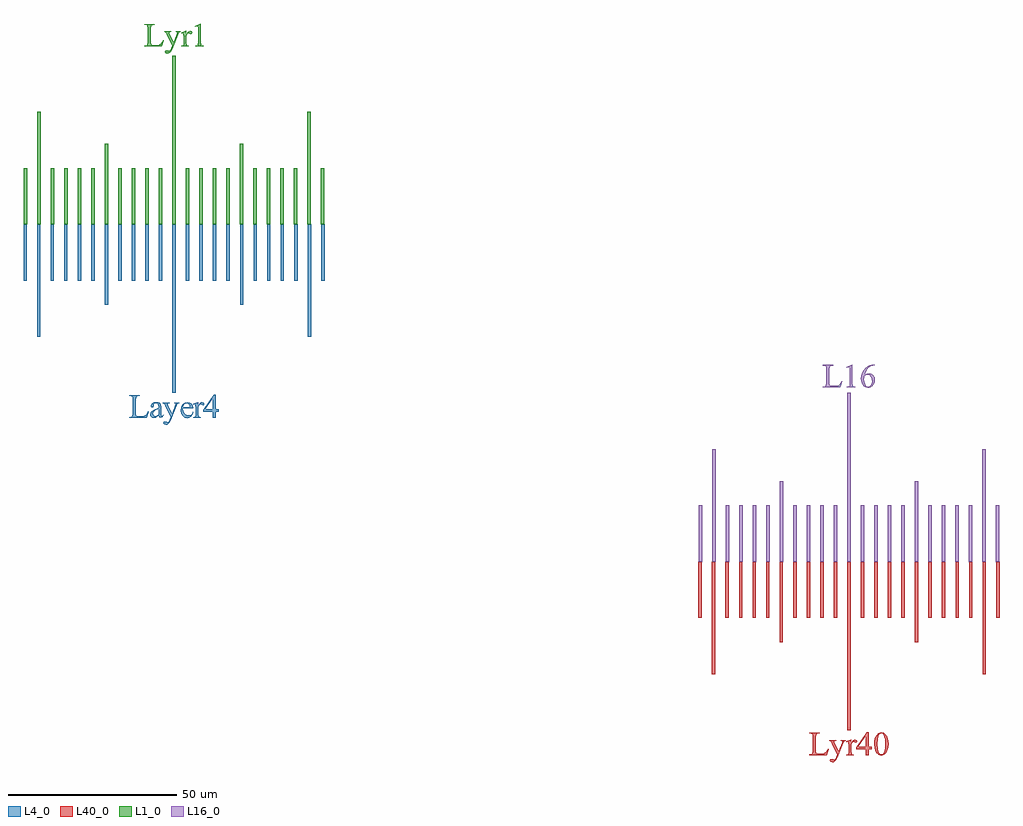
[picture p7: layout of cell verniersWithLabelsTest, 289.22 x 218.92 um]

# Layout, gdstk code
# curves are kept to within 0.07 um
import gdstk
lib = gdstk.Library(unit=1e-6, precision=1e-09)
def R(c, l, rs):  # rectangles x0, y0, x1, y1
    for r in rs: c.add(gdstk.rectangle(r[:2], r[2:], *l))
def A(c, l, x, y, w, h, nx, ny, dx, dy):  # array of equal rectangles
    R(c, l, [(x+i*dx, y+j*dy, x+i*dx+w, y+j*dy+h) for i in range(nx) for j in range(ny)])
def P(c, l, *ps):  # polygons
    for p in ps: c.add(gdstk.Polygon(p, *l))
L1_0 = (1, 0)
L4_0 = (4, 0)
L16_0 = (16, 0)
L40_0 = (40, 0)

vernierswithlabelstest = lib.new_cell('verniersWithLabelsTest')
A(vernierswithlabelstest, L1_0, -36.5, 0, 1, 16.667, 4, 1, 4, 0)
A(vernierswithlabelstest, L1_0, -16.5, 0, 1, 16.667, 4, 1, 4, 0)
A(vernierswithlabelstest, L1_0, 3.5, 0, 1, 16.667, 4, 1, 4, 0)
A(vernierswithlabelstest, L1_0, 23.5, 0, 1, 16.667, 4, 1, 4, 0)
R(vernierswithlabelstest, L1_0, [(-44.5,0,-43.5,16.667), (-40.5,0,-39.5,33.333), (-20.5,0,-19.5,23.81), (-0.5,0,0.5,50), (19.5,0,20.5,23.81), (39.5,0,40.5,33.333), (43.5,0,44.5,16.667)])
P(vernierswithlabelstest, L1_0, [(-2.039,50.539),(-2.523,50.703),(-2.711,51.086),(-2.57,51.414),(-2.195,51.539),(-1.523,51.352),(-1.195,51.508),(-0.523,52.867),(-2.133,56.242),(-2.57,56.852),(-2.93,56.992),(-2.93,57.164),(-0.852,57.164),(-0.852,56.992),(-1.273,56.898),(-1.383,56.648),(-1.227,56.133),(-0.133,53.867),(0.867,56.336),(0.945,56.742),(0.789,56.961),(0.492,56.992),(0.492,57.164),(1.945,57.164),(1.945,56.992),(1.672,56.906),(1.461,56.695),(-0.523,51.852),(-0.83,51.277),(-1.219,50.867),(-1.639,50.621)],
  [(2.117,52.695),(2.117,52.867),(2.633,52.977),(2.805,53.227),(2.82,55.43),(2.789,56.359),(2.672,56.578),(2.461,56.648),(2.117,56.57),(2.07,56.758),(3.43,57.305),(3.633,57.305),(3.633,56.289),(4.203,57.051),(4.494,57.241),(4.789,57.305),(5.227,57.141),(5.398,56.758),(5.273,56.438),(4.977,56.305),(4.273,56.648),(4.086,56.539),(3.633,55.883),(3.633,53.742),(3.727,53.18),(3.945,52.961),(4.414,52.867),(4.414,52.695)],
  [(-8.789,52.695),(-8.789,52.883),(-8.18,52.949),(-7.945,53.148),(-7.836,53.867),(-7.871,58.645),(-7.977,58.914),(-8.211,59.078),(-8.789,59.133),(-8.789,59.32),(-5.789,59.32),(-5.789,59.133),(-6.531,59.039),(-6.82,58.773),(-6.898,58.039),(-6.898,53.867),(-6.82,53.32),(-6.641,53.164),(-5.883,53.117),(-4.328,53.227),(-3.766,53.625),(-3.258,54.523),(-3.102,54.492),(-3.664,52.695)],
  [(6.305,52.695),(6.305,52.883),(6.906,52.953),(7.094,53.148),(7.148,57.43),(7.102,58.367),(6.977,58.594),(6.758,58.664),(6.258,58.523),(6.18,58.664),(7.789,59.461),(7.945,59.461),(7.992,53.172),(8.188,52.961),(8.789,52.883),(8.789,52.695)])
A(vernierswithlabelstest, L4_0, -36.59, -16.667, 1, 16.667, 4, 1, 4.01, 0)
A(vernierswithlabelstest, L4_0, -16.54, -16.667, 1, 16.667, 4, 1, 4.01, 0)
A(vernierswithlabelstest, L4_0, 3.51, -16.667, 1, 16.667, 4, 1, 4.01, 0)
A(vernierswithlabelstest, L4_0, 23.56, -16.667, 1, 16.667, 4, 1, 4.01, 0)
R(vernierswithlabelstest, L4_0, [(-0.5,-50,0.5,0), (-40.6,-33.333,-39.6,0), (39.6,-33.333,40.6,0), (-20.55,-23.81,-19.55,0), (19.55,-23.81,20.55,0), (-44.61,-16.667,-43.61,0), (43.61,-16.667,44.61,0)])
P(vernierswithlabelstest, L4_0, [(-2.477,-59.461),(-2.961,-59.297),(-3.148,-58.914),(-3.008,-58.586),(-2.633,-58.461),(-1.961,-58.648),(-1.633,-58.492),(-0.961,-57.133),(-2.57,-53.758),(-3.008,-53.148),(-3.367,-53.008),(-3.367,-52.836),(-1.289,-52.836),(-1.289,-53.008),(-1.711,-53.102),(-1.82,-53.352),(-1.664,-53.867),(-0.57,-56.133),(0.43,-53.664),(0.508,-53.258),(0.352,-53.039),(0.055,-53.008),(0.055,-52.836),(1.508,-52.836),(1.508,-53.008),(1.234,-53.094),(1.023,-53.305),(-0.961,-58.148),(-1.268,-58.723),(-1.656,-59.133),(-2.076,-59.379)],
  [(-6.008,-57.398),(-6.434,-57.318),(-6.773,-57.078),(-6.92,-56.836),(-5.555,-56.836),(-5.133,-56.711),(-4.586,-56.336),(-4.586,-54.633),(-5.539,-55.055),(-6.086,-55.508),(-6.258,-56.008),(-6.205,-56.336),(-6.047,-56.602),(-5.818,-56.777),(-5.555,-56.836),(-6.92,-56.836),(-7.07,-56.242),(-6.93,-55.68),(-6.654,-55.359),(-6.234,-55.055),(-4.586,-54.336),(-4.639,-53.598),(-4.797,-53.242),(-5.057,-53.055),(-5.691,-53.035),(-5.898,-53.164),(-6.086,-53.539),(-6.07,-53.82),(-6.187,-54.172),(-6.492,-54.289),(-6.789,-54.164),(-6.898,-53.82),(-6.791,-53.416),(-6.469,-53.047),(-5.955,-52.783),(-5.273,-52.695),(-4.723,-52.746),(-4.289,-52.898),(-3.867,-53.367),(-3.773,-54.227),(-3.75,-56.539),(-3.672,-56.727),(-3.398,-56.742),(-3.008,-56.383),(-3.008,-56.664),(-3.543,-57.215),(-4.055,-57.398),(-4.43,-57.227),(-4.586,-56.664),(-5.445,-57.273)],
  [(3.898,-57.445),(3.146,-57.287),(2.516,-56.812),(2.088,-56.076),(1.945,-55.133),(2.075,-54.227),(4.711,-54.227),(4.602,-53.633),(4.234,-53.195),(3.727,-53.039),(3.354,-53.117),(3.016,-53.352),(2.76,-53.727),(2.633,-54.227),(2.075,-54.227),(2.531,-53.336),(3.193,-52.855),(4.008,-52.695),(4.691,-52.818),(5.242,-53.187),(5.605,-53.768),(5.727,-54.523),(2.633,-54.523),(2.754,-55.406),(3.117,-56.086),(3.648,-56.508),(4.273,-56.648),(4.682,-56.588),(5.031,-56.406),(5.326,-56.076),(5.57,-55.57),(5.727,-55.68),(5.521,-56.311),(5.125,-56.891),(4.572,-57.307)],
  [(5.68,-57.305),(5.68,-57.133),(6.195,-57.023),(6.367,-56.773),(6.383,-54.57),(6.352,-53.641),(6.234,-53.422),(6.023,-53.352),(5.68,-53.43),(5.633,-53.242),(6.992,-52.695),(7.195,-52.695),(7.195,-53.711),(7.766,-52.949),(8.057,-52.759),(8.352,-52.695),(8.789,-52.859),(8.961,-53.242),(8.836,-53.562),(8.539,-53.695),(7.836,-53.352),(7.648,-53.461),(7.195,-54.117),(7.195,-56.258),(7.289,-56.82),(7.508,-57.039),(7.977,-57.133),(7.977,-57.305)],
  [(-13.227,-57.305),(-13.227,-57.117),(-12.617,-57.051),(-12.383,-56.852),(-12.273,-56.133),(-12.309,-51.355),(-12.414,-51.086),(-12.648,-50.922),(-13.227,-50.867),(-13.227,-50.68),(-10.227,-50.68),(-10.227,-50.867),(-10.969,-50.961),(-11.258,-51.227),(-11.336,-51.961),(-11.336,-56.133),(-11.258,-56.68),(-11.078,-56.836),(-10.32,-56.883),(-8.766,-56.773),(-8.203,-56.375),(-7.695,-55.477),(-7.539,-55.508),(-8.102,-57.305)],
  [(11.523,-57.305),(11.523,-55.555),(8.727,-55.555),(8.727,-54.93),(8.77,-54.867),(11.523,-54.867),(11.523,-51.57),(9.211,-54.867),(8.77,-54.867),(11.805,-50.539),(12.336,-50.539),(12.336,-54.867),(13.227,-54.867),(13.227,-55.555),(12.336,-55.555),(12.336,-57.305)])
A(vernierswithlabelstest, L16_0, 163.5, -100, 1, 16.667, 4, 1, 4, 0)
A(vernierswithlabelstest, L16_0, 183.5, -100, 1, 16.667, 4, 1, 4, 0)
A(vernierswithlabelstest, L16_0, 203.5, -100, 1, 16.667, 4, 1, 4, 0)
A(vernierswithlabelstest, L16_0, 223.5, -100, 1, 16.667, 4, 1, 4, 0)
R(vernierswithlabelstest, L16_0, [(155.5,-100,156.5,-83.333), (159.5,-100,160.5,-66.667), (179.5,-100,180.5,-76.19), (199.5,-100,200.5,-50), (219.5,-100,220.5,-76.19), (239.5,-100,240.5,-66.667), (243.5,-100,244.5,-83.333)])
P(vernierswithlabelstest, L16_0, [(192.297,-48.32),(192.297,-48.133),(192.906,-48.066),(193.141,-47.867),(193.25,-47.148),(193.215,-42.371),(193.109,-42.102),(192.875,-41.937),(192.297,-41.883),(192.297,-41.695),(195.297,-41.695),(195.297,-41.883),(194.555,-41.977),(194.266,-42.242),(194.188,-42.977),(194.188,-47.148),(194.266,-47.695),(194.445,-47.852),(195.203,-47.898),(196.758,-47.789),(197.32,-47.391),(197.828,-46.492),(197.984,-46.523),(197.422,-48.32)],
  [(199.391,-48.32),(199.391,-48.133),(199.992,-48.062),(200.18,-47.867),(200.234,-43.586),(200.188,-42.648),(200.063,-42.422),(199.844,-42.352),(199.344,-42.492),(199.266,-42.352),(200.875,-41.555),(201.031,-41.555),(201.078,-47.844),(201.273,-48.055),(201.875,-48.133),(201.875,-48.32)],
  [(205.609,-48.445),(204.977,-48.332),(204.718,-48.164),(205.75,-48.164),(206.15,-48.064),(206.508,-47.766),(206.76,-47.279),(206.844,-46.617),(206.76,-45.844),(206.508,-45.18),(206.104,-44.723),(205.563,-44.57),(205.164,-44.648),(204.547,-44.977),(204.453,-46.039),(204.625,-47.062),(204.84,-47.557),(205.141,-47.93),(205.418,-48.105),(205.75,-48.164),(204.718,-48.164),(204.453,-47.992),(204.05,-47.522),(203.762,-46.988),(203.589,-46.39),(203.531,-45.727),(203.619,-44.857),(203.883,-44.031),(204.313,-43.273),(204.898,-42.609),(205.547,-42.092),(206.164,-41.773),(206.748,-41.609),(207.578,-41.555),(207.578,-41.742),(206.523,-42),(205.719,-42.586),(205.063,-43.469),(204.625,-44.617),(205.328,-44.254),(206.031,-44.133),(206.67,-44.27),(207.211,-44.68),(207.58,-45.305),(207.703,-46.086),(207.578,-46.887),(207.203,-47.602),(206.5,-48.234)])
A(vernierswithlabelstest, L40_0, 163.41, -116.667, 1, 16.667, 4, 1, 4.01, 0)
A(vernierswithlabelstest, L40_0, 183.46, -116.667, 1, 16.667, 4, 1, 4.01, 0)
A(vernierswithlabelstest, L40_0, 203.51, -116.667, 1, 16.667, 4, 1, 4.01, 0)
A(vernierswithlabelstest, L40_0, 223.56, -116.667, 1, 16.667, 4, 1, 4.01, 0)
R(vernierswithlabelstest, L40_0, [(199.5,-150,200.5,-100), (159.4,-133.333,160.4,-100), (239.6,-133.333,240.6,-100), (179.45,-123.81,180.45,-100), (219.55,-123.81,220.55,-100), (155.39,-116.667,156.39,-100), (243.61,-116.667,244.61,-100)])
P(vernierswithlabelstest, L40_0, [(195.031,-159.461),(194.547,-159.297),(194.359,-158.914),(194.5,-158.586),(194.875,-158.461),(195.547,-158.648),(195.875,-158.492),(196.547,-157.133),(194.938,-153.758),(194.5,-153.148),(194.141,-153.008),(194.141,-152.836),(196.219,-152.836),(196.219,-153.008),(195.797,-153.102),(195.688,-153.352),(195.844,-153.867),(196.938,-156.133),(197.938,-153.664),(198.016,-153.258),(197.859,-153.039),(197.563,-153.008),(197.563,-152.836),(199.016,-152.836),(199.016,-153.008),(198.742,-153.094),(198.531,-153.305),(196.547,-158.148),(196.24,-158.723),(195.852,-159.133),(195.432,-159.379)],
  [(199.188,-157.305),(199.188,-157.133),(199.703,-157.023),(199.875,-156.773),(199.891,-154.57),(199.859,-153.641),(199.742,-153.422),(199.531,-153.352),(199.188,-153.43),(199.141,-153.242),(200.5,-152.695),(200.703,-152.695),(200.703,-153.711),(201.273,-152.949),(201.564,-152.759),(201.859,-152.695),(202.297,-152.859),(202.469,-153.242),(202.344,-153.562),(202.047,-153.695),(201.344,-153.352),(201.156,-153.461),(200.703,-154.117),(200.703,-156.258),(200.797,-156.82),(201.016,-157.039),(201.484,-157.133),(201.484,-157.305)],
  [(188.281,-157.305),(188.281,-157.117),(188.891,-157.051),(189.125,-156.852),(189.234,-156.133),(189.199,-151.355),(189.094,-151.086),(188.859,-150.922),(188.281,-150.867),(188.281,-150.68),(191.281,-150.68),(191.281,-150.867),(190.539,-150.961),(190.25,-151.227),(190.172,-151.961),(190.172,-156.133),(190.25,-156.68),(190.43,-156.836),(191.188,-156.883),(192.742,-156.773),(193.305,-156.375),(193.813,-155.477),(193.969,-155.508),(193.406,-157.305)],
  [(205.031,-157.305),(205.031,-155.555),(202.234,-155.555),(202.234,-154.93),(202.278,-154.867),(205.031,-154.867),(205.031,-151.57),(202.719,-154.867),(202.278,-154.867),(205.313,-150.539),(205.844,-150.539),(205.844,-154.867),(206.734,-154.867),(206.734,-155.555),(205.844,-155.555),(205.844,-157.305)],
  [(209.547,-157.43),(209.097,-157.359),(208.65,-157.117),(209.832,-157.057),(210.359,-156.557),(210.547,-156.086),(210.711,-155.07),(210.766,-153.711),(210.707,-152.676),(210.332,-151.34),(210.078,-151.023),(209.594,-150.867),(209.281,-150.941),(209,-151.164),(208.709,-151.686),(208.523,-152.437),(208.391,-154.148),(208.477,-155.395),(208.734,-156.383),(209.082,-156.934),(209.563,-157.117),(208.65,-157.117),(208.308,-156.797),(207.969,-156.305),(207.57,-155.27),(207.438,-154.039),(207.523,-152.979),(207.781,-152.078),(208.18,-151.365),(208.688,-150.867),(209.133,-150.621),(209.594,-150.539),(210.32,-150.734),(210.969,-151.32),(211.531,-152.457),(211.719,-153.93),(211.637,-154.998),(211.391,-155.891),(211.016,-156.586),(210.547,-157.062),(210.039,-157.338)])

lib.write_gds('verniersWithLabelsTest.gds')
